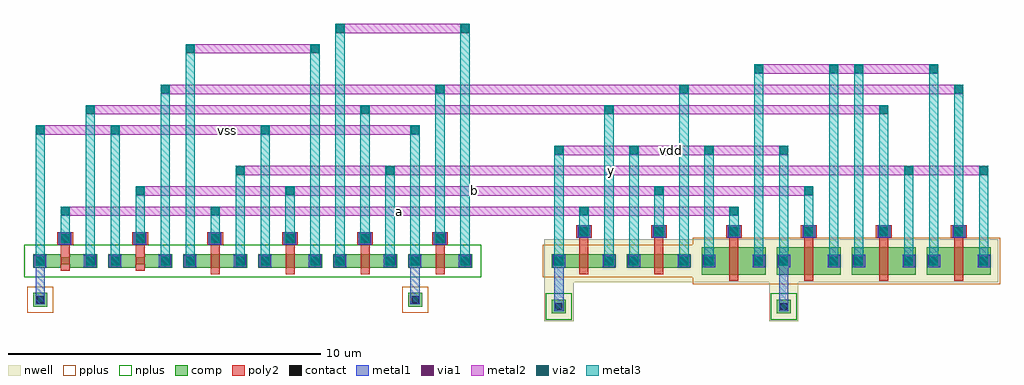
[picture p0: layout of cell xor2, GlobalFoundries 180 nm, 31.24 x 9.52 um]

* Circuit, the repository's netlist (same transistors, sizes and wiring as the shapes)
* extracted by klt extract --deck gf180mcu

* cell xor2
* pin a
* pin b
* pin vdd
* pin vss
* pin y
.SUBCKT xor2 a b vdd vss y
* device instance $1 r0 *1 0.8,1 nfet
X$1 \$4 a vss vss nfet_03v3 L=0.28U W=0.22U AS=0.3872P AD=0.3872P PS=2.64U
+ PD=2.64U
* device instance $2 r0 *1 3.2,1 nfet
X$2 \$6 b vss vss nfet_03v3 L=0.28U W=0.22U AS=0.3872P AD=0.3872P PS=2.64U
+ PD=2.64U
* device instance $3 r0 *1 5.6,1 nfet
X$3 y a \$7 vss nfet_03v3 L=0.28U W=0.44U AS=0.3872P AD=0.3872P PS=2.64U
+ PD=2.64U
* device instance $4 r0 *1 8,1 nfet
X$4 \$7 b vss vss nfet_03v3 L=0.28U W=0.44U AS=0.3872P AD=0.3872P PS=2.64U
+ PD=2.64U
* device instance $5 r0 *1 10.4,1 nfet
X$5 y \$4 \$9 vss nfet_03v3 L=0.28U W=0.44U AS=0.3872P AD=0.3872P PS=2.64U
+ PD=2.64U
* device instance $6 r0 *1 12.8,1 nfet
X$6 \$9 \$6 vss vss nfet_03v3 L=0.28U W=0.44U AS=0.3872P AD=0.3872P PS=2.64U
+ PD=2.64U
* device instance $7 r0 *1 17.4,1 pfet
X$7 \$4 a vdd vdd pfet_03v3 L=0.28U W=0.44U AS=0.3872P AD=0.3872P PS=2.64U
+ PD=2.64U
* device instance $8 r0 *1 19.8,1 pfet
X$8 \$6 b vdd vdd pfet_03v3 L=0.28U W=0.44U AS=0.3872P AD=0.3872P PS=2.64U
+ PD=2.64U
* device instance $9 r0 *1 22.2,1 pfet
X$9 \$10 a vdd vdd pfet_03v3 L=0.28U W=0.88U AS=0.7744P AD=0.7744P PS=3.52U
+ PD=3.52U
* device instance $10 r0 *1 24.6,1 pfet
X$10 \$10 b vdd vdd pfet_03v3 L=0.28U W=0.88U AS=0.7744P AD=0.7744P PS=3.52U
+ PD=3.52U
* device instance $11 r0 *1 27,1 pfet
X$11 y \$4 \$10 vdd pfet_03v3 L=0.28U W=0.88U AS=0.7744P AD=0.7744P PS=3.52U
+ PD=3.52U
* device instance $12 r0 *1 29.4,1 pfet
X$12 y \$6 \$10 vdd pfet_03v3 L=0.28U W=0.88U AS=0.7744P AD=0.7744P PS=3.52U
+ PD=3.52U
.ENDS xor2

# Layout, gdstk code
import gdstk
lib = gdstk.Library(unit=1e-6, precision=1e-09)
def R(c, l, rs):  # rectangles x0, y0, x1, y1
    for r in rs: c.add(gdstk.rectangle(r[:2], r[2:], *l))
def A(c, l, x, y, w, h, nx, ny, dx, dy):  # array of equal rectangles
    R(c, l, [(x+i*dx, y+j*dy, x+i*dx+w, y+j*dy+h) for i in range(nx) for j in range(ny)])
nwell = (21, 0)
comp = (22, 0)
poly2 = (30, 0)
pplus = (31, 0)
nplus = (32, 0)
contact = (33, 0)
metal1 = (34, 0)
via1 = (35, 0)
metal2 = (36, 0)
via2 = (38, 0)
metal3 = (42, 0)

xor2 = lib.new_cell('xor2')
R(xor2, nwell, [(16.13,-0.93,17.07,0.41), (23.33,-0.93,24.27,0.41), (16.13,0.31,30.67,1.69)])
A(xor2, comp, 21.18, 0.56, 2.04, 0.88, 4, 1, 2.4, 0)
A(xor2, comp, 4.58, 0.78, 2.04, 0.44, 4, 1, 2.4, 0)
R(xor2, comp, [(16.38,-0.68,16.82,-0.24), (23.58,-0.68,24.02,-0.24), (-0.22,-0.46,0.22,-0.02), (11.78,-0.46,12.22,-0.02), (-0.22,0.78,0.66,1.22), (0.94,0.78,1.82,1.22), (2.18,0.78,3.06,1.22), (3.34,0.78,4.22,1.22), (16.38,0.78,18.42,1.22), (18.78,0.78,20.82,1.22), (0.66,0.89,0.94,1.11), (3.06,0.89,3.34,1.11)])
A(xor2, poly2, 22.06, 0.36, 0.28, 1.43, 4, 1, 2.4, 0)
A(xor2, poly2, 5.46, 0.58, 0.28, 0.99, 4, 1, 2.4, 0)
A(xor2, poly2, 0.55, 1.52, 0.5, 0.4, 6, 1, 2.4, 0)
A(xor2, poly2, 17.15, 1.74, 0.5, 0.4, 6, 1, 2.4, 0)
R(xor2, poly2, [(17.26,0.58,17.54,1.79), (19.66,0.58,19.94,1.79), (0.66,0.69,0.94,1.57), (3.06,0.69,3.34,1.57)])
A(xor2, pplus, 20.88, 0.26, 2.64, 1.48, 4, 1, 2.4, 0)
R(xor2, pplus, [(-0.42,-0.66,0.42,0.18), (11.58,-0.66,12.42,0.18), (16.08,0.48,18.72,1.52), (18.48,0.48,21.12,1.52)])
A(xor2, nplus, 4.28, 0.48, 2.64, 1.04, 4, 1, 2.4, 0)
R(xor2, nplus, [(16.18,-0.88,17.02,-0.04), (23.38,-0.88,24.22,-0.04), (-0.52,0.48,0.96,1.52), (0.64,0.48,2.12,1.52), (1.88,0.48,3.36,1.52), (3.04,0.48,4.52,1.52), (0.36,0.59,1.24,1.41), (2.76,0.59,3.64,1.41)])
A(xor2, contact, 0.69, 1.61, 0.22, 0.22, 6, 1, 2.4, 0)
A(xor2, contact, 17.29, 1.83, 0.22, 0.22, 6, 1, 2.4, 0)
R(xor2, contact, [(16.49,-0.57,16.71,-0.35), (23.69,-0.57,23.91,-0.35), (-0.11,-0.35,0.11,-0.13), (11.89,-0.35,12.11,-0.13), (-0.11,0.89,0.11,1.11), (1.49,0.89,1.71,1.11), (2.29,0.89,2.51,1.11), (3.89,0.89,4.11,1.11), (4.69,0.89,4.91,1.11), (6.29,0.89,6.51,1.11), (7.09,0.89,7.31,1.11), (8.69,0.89,8.91,1.11), (9.49,0.89,9.71,1.11), (11.09,0.89,11.31,1.11), (11.89,0.89,12.11,1.11), (13.49,0.89,13.71,1.11), (16.49,0.89,16.71,1.11), (18.09,0.89,18.31,1.11), (18.89,0.89,19.11,1.11), (20.49,0.89,20.71,1.11), (21.29,0.89,21.51,1.11), (22.89,0.89,23.11,1.11), (23.69,0.89,23.91,1.11), (25.29,0.89,25.51,1.11), (26.09,0.89,26.31,1.11), (27.69,0.89,27.91,1.11), (28.49,0.89,28.71,1.11), (30.09,0.89,30.31,1.11)])
A(xor2, metal1, 0.6, 1.52, 0.4, 0.4, 6, 1, 2.4, 0)
A(xor2, metal1, 17.2, 1.74, 0.4, 0.4, 6, 1, 2.4, 0)
R(xor2, metal1, [(16.45,-0.61,16.75,1), (23.65,-0.61,23.95,1), (-0.15,-0.39,0.15,1), (11.85,-0.39,12.15,1), (-0.2,0.8,0.2,1.2), (1.4,0.8,1.8,1.2), (2.2,0.8,2.6,1.2), (3.8,0.8,4.2,1.2), (4.6,0.8,5,1.2), (6.2,0.8,6.6,1.2), (7,0.8,7.4,1.2), (8.6,0.8,9,1.2), (9.4,0.8,9.8,1.2), (11,0.8,11.4,1.2), (11.8,0.8,12.2,1.2), (13.4,0.8,13.8,1.2), (16.4,0.8,16.8,1.2), (18,0.8,18.4,1.2), (18.8,0.8,19.2,1.2), (20.4,0.8,20.8,1.2), (21.2,0.8,21.6,1.2), (22.8,0.8,23.2,1.2), (23.6,0.8,24,1.2), (25.2,0.8,25.6,1.2), (26,0.8,26.4,1.2), (27.6,0.8,28,1.2), (28.4,0.8,28.8,1.2), (30,0.8,30.4,1.2)])
A(xor2, via1, 0.67, 1.59, 0.26, 0.26, 6, 1, 2.4, 0)
A(xor2, via1, 17.27, 1.81, 0.26, 0.26, 6, 1, 2.4, 0)
R(xor2, via1, [(-0.13,0.87,0.13,1.13), (1.47,0.87,1.73,1.13), (2.27,0.87,2.53,1.13), (3.87,0.87,4.13,1.13), (4.67,0.87,4.93,1.13), (6.27,0.87,6.53,1.13), (7.07,0.87,7.33,1.13), (8.67,0.87,8.93,1.13), (9.47,0.87,9.73,1.13), (11.07,0.87,11.33,1.13), (11.87,0.87,12.13,1.13), (13.47,0.87,13.73,1.13), (16.47,0.87,16.73,1.13), (18.07,0.87,18.33,1.13), (18.87,0.87,19.13,1.13), (20.47,0.87,20.73,1.13), (21.27,0.87,21.53,1.13), (22.87,0.87,23.13,1.13), (23.67,0.87,23.93,1.13), (25.27,0.87,25.53,1.13), (26.07,0.87,26.33,1.13), (27.67,0.87,27.93,1.13), (28.47,0.87,28.73,1.13), (30.07,0.87,30.33,1.13)])
A(xor2, metal2, 0.64, 1.56, 0.32, 0.32, 6, 1, 2.4, 0)
A(xor2, metal2, 17.24, 1.78, 0.32, 0.32, 6, 1, 2.4, 0)
R(xor2, metal2, [(-0.16,0.84,0.16,1.16), (1.44,0.84,1.76,1.16), (2.24,0.84,2.56,1.16), (3.84,0.84,4.16,1.16), (4.64,0.84,4.96,1.16), (6.24,0.84,6.56,1.16), (7.04,0.84,7.36,1.16), (8.64,0.84,8.96,1.16), (9.44,0.84,9.76,1.16), (11.04,0.84,11.36,1.16), (11.84,0.84,12.16,1.16), (13.44,0.84,13.76,1.16), (16.44,0.84,16.76,1.16), (18.04,0.84,18.36,1.16), (18.84,0.84,19.16,1.16), (20.44,0.84,20.76,1.16), (21.24,0.84,21.56,1.16), (22.84,0.84,23.16,1.16), (23.64,0.84,23.96,1.16), (25.24,0.84,25.56,1.16), (26.04,0.84,26.36,1.16), (27.64,0.84,27.96,1.16), (28.44,0.84,28.76,1.16), (30.04,0.84,30.36,1.16), (0.65,2.44,22.35,2.74), (3.05,3.09,24.75,3.39), (6.25,3.74,30.35,4.04), (16.45,4.39,23.95,4.69), (-0.15,5.04,12.15,5.34), (1.45,5.69,27.15,5.99), (3.85,6.34,29.55,6.64), (22.85,6.99,28.75,7.29), (4.65,7.64,8.95,7.94), (9.45,8.29,13.75,8.59)])
A(xor2, via2, 0.67, 1.59, 0.26, 0.26, 6, 1, 2.4, 0)
A(xor2, via2, 17.27, 1.81, 0.26, 0.26, 6, 1, 2.4, 0)
A(xor2, via2, 16.47, 4.41, 0.26, 0.26, 4, 1, 2.4, 0)
A(xor2, via2, 2.27, 5.06, 0.26, 0.26, 3, 1, 4.8, 0)
R(xor2, via2, [(-0.13,0.87,0.13,1.13), (1.47,0.87,1.73,1.13), (2.27,0.87,2.53,1.13), (3.87,0.87,4.13,1.13), (4.67,0.87,4.93,1.13), (6.27,0.87,6.53,1.13), (7.07,0.87,7.33,1.13), (8.67,0.87,8.93,1.13), (9.47,0.87,9.73,1.13), (11.07,0.87,11.33,1.13), (11.87,0.87,12.13,1.13), (13.47,0.87,13.73,1.13), (16.47,0.87,16.73,1.13), (18.07,0.87,18.33,1.13), (18.87,0.87,19.13,1.13), (20.47,0.87,20.73,1.13), (21.27,0.87,21.53,1.13), (22.87,0.87,23.13,1.13), (23.67,0.87,23.93,1.13), (25.27,0.87,25.53,1.13), (26.07,0.87,26.33,1.13), (27.67,0.87,27.93,1.13), (28.47,0.87,28.73,1.13), (30.07,0.87,30.33,1.13), (0.67,2.46,0.93,2.72), (5.47,2.46,5.73,2.72), (17.27,2.46,17.53,2.72), (22.07,2.46,22.33,2.72), (3.07,3.11,3.33,3.37), (7.87,3.11,8.13,3.37), (19.67,3.11,19.93,3.37), (24.47,3.11,24.73,3.37), (6.27,3.76,6.53,4.02), (11.07,3.76,11.33,4.02), (27.67,3.76,27.93,4.02), (30.07,3.76,30.33,4.02), (-0.13,5.06,0.13,5.32), (1.47,5.71,1.73,5.97), (10.27,5.71,10.53,5.97), (18.07,5.71,18.33,5.97), (26.87,5.71,27.13,5.97), (3.87,6.36,4.13,6.62), (12.67,6.36,12.93,6.62), (20.47,6.36,20.73,6.62), (29.27,6.36,29.53,6.62), (22.87,7.01,23.13,7.27), (25.27,7.01,25.53,7.27), (26.07,7.01,26.33,7.27), (28.47,7.01,28.73,7.27), (4.67,7.66,4.93,7.92), (8.67,7.66,8.93,7.92), (9.47,8.31,9.73,8.57), (13.47,8.31,13.73,8.57)])
A(xor2, metal3, 2.25, 0.85, 0.3, 4.49, 3, 1, 4.8, 0)
A(xor2, metal3, 16.45, 0.85, 0.3, 3.84, 4, 1, 2.4, 0)
R(xor2, metal3, [(-0.15,0.85,0.15,5.34), (1.45,0.85,1.75,5.99), (3.85,0.85,4.15,6.64), (4.65,0.85,4.95,7.94), (6.25,0.85,6.55,4.04), (8.65,0.85,8.95,7.94), (9.45,0.85,9.75,8.59), (11.05,0.85,11.35,4.04), (13.45,0.85,13.75,8.59), (18.05,0.85,18.35,5.99), (20.45,0.85,20.75,6.64), (22.85,0.85,23.15,7.29), (25.25,0.85,25.55,7.29), (26.05,0.85,26.35,7.29), (27.65,0.85,27.95,4.04), (28.45,0.85,28.75,7.29), (30.05,0.85,30.35,4.04), (0.65,1.57,0.95,2.74), (3.05,1.57,3.35,3.39), (5.45,1.57,5.75,2.74), (7.85,1.57,8.15,3.39), (10.25,1.57,10.55,5.99), (12.65,1.57,12.95,6.64), (17.25,1.79,17.55,2.74), (19.65,1.79,19.95,3.39), (22.05,1.79,22.35,2.74), (24.45,1.79,24.75,3.39), (26.85,1.79,27.15,5.99), (29.25,1.79,29.55,6.64)])
xor2.add(gdstk.Label('a', (11.5,2.59), layer=36, texttype=10))
xor2.add(gdstk.Label('b', (13.9,3.24), layer=36, texttype=10))
xor2.add(gdstk.Label('y', (18.3,3.89), layer=36, texttype=10))
xor2.add(gdstk.Label('vdd', (20.2,4.54), layer=36, texttype=10))
xor2.add(gdstk.Label('vss', (6,5.19), layer=36, texttype=10))

lib.write_gds('xor2.gds')
